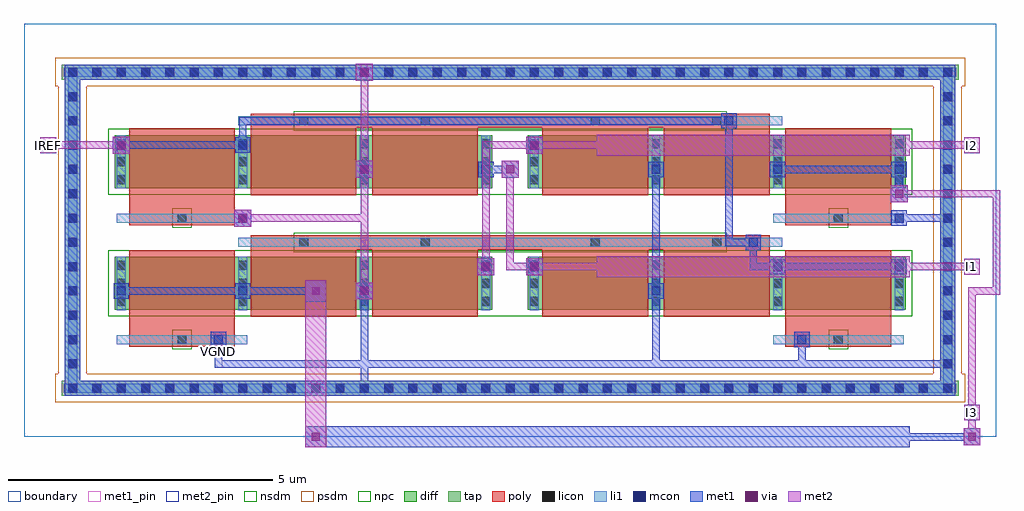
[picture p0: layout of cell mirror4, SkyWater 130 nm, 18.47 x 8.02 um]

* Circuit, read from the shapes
.subckt mirror4 I1 I2 I3 IREF VGND
XM1 I3 VGND I3 VGND sky130_fd_pr__nfet_01v8 w=1 l=2 m=2
XM2 IREF VGND IREF VGND sky130_fd_pr__nfet_01v8 w=1 l=2 m=2
XM3 VGND IREF I3 VGND sky130_fd_pr__nfet_01v8 w=1 l=2 m=2
XM4 VGND IREF IREF VGND sky130_fd_pr__nfet_01v8 w=1 l=2 m=2
XM5 I2 IREF VGND VGND sky130_fd_pr__nfet_01v8 w=1 l=2 m=2
XM6 I1 IREF VGND VGND sky130_fd_pr__nfet_01v8 w=1 l=2 m=2
.ends

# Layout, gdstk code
import gdstk
lib = gdstk.Library(unit=1e-6, precision=1e-09)
def R(c, l, rs):  # rectangles x0, y0, x1, y1
    for r in rs: c.add(gdstk.rectangle(r[:2], r[2:], *l))
def A(c, l, x, y, w, h, nx, ny, dx, dy):  # array of equal rectangles
    R(c, l, [(x+i*dx, y+j*dy, x+i*dx+w, y+j*dy+h) for i in range(nx) for j in range(ny)])
diff = (65, 20)
tap = (65, 44)
poly = (66, 20)
licon = (66, 44)
li1 = (67, 20)
mcon = (67, 44)
met1_pin = (68, 16)
met1 = (68, 20)
via = (68, 44)
met2_pin = (69, 16)
met2 = (69, 20)
nsdm = (93, 44)
psdm = (94, 20)
npc = (95, 20)
boundary = (235, 4)

mirror4 = lib.new_cell('mirror4')
R(mirror4, diff, [(1.715,2.405,8.865,3.405), (9.535,2.405,16.685,3.405), (1.715,4.705,8.865,5.705), (9.535,4.705,16.685,5.705)])
R(mirror4, tap, [(0.715,0.775,17.685,1.065), (0.775,0.775,1.065,7.045), (17.335,0.775,17.625,7.045), (0.715,6.755,17.685,7.045)])
R(mirror4, poly, [(1.99,1.705,3.99,1.975), (14.41,1.705,16.41,1.975), (1.99,1.84,3.99,3.535), (14.41,1.84,16.41,3.535), (4.29,2.275,6.29,3.68), (6.59,2.275,8.59,3.68), (9.81,2.275,11.81,3.68), (12.11,2.275,14.11,3.68), (4.29,3.545,14.11,3.815), (1.99,4.005,3.99,4.275), (14.41,4.005,16.41,4.275), (1.99,4.14,3.99,5.835), (14.41,4.14,16.41,5.835), (4.29,4.575,6.29,5.98), (6.59,4.575,8.59,5.98), (9.81,4.575,11.81,5.98), (12.11,4.575,14.11,5.98), (4.29,5.845,14.11,6.115)])
A(mirror4, licon, 0.835, 0.835, 0.17, 0.17, 37, 2, 0.46, 5.98)
A(mirror4, licon, 0.835, 1.295, 0.17, 0.17, 1, 12, 0, 0.46)
A(mirror4, licon, 17.395, 1.295, 0.17, 0.17, 1, 12, 0, 0.46)
A(mirror4, licon, 1.755, 2.48, 0.17, 0.17, 4, 3, 2.3, 0.34)
A(mirror4, licon, 9.575, 2.48, 0.17, 0.17, 4, 3, 2.3, 0.34)
A(mirror4, licon, 1.755, 4.78, 0.17, 0.17, 4, 3, 2.3, 0.34)
A(mirror4, licon, 9.575, 4.78, 0.17, 0.17, 4, 3, 2.3, 0.34)
R(mirror4, licon, [(2.905,1.755,3.075,1.925), (15.325,1.755,15.495,1.925), (5.205,3.595,5.375,3.765), (7.505,3.595,7.675,3.765), (10.725,3.595,10.895,3.765), (13.025,3.595,13.195,3.765), (2.905,4.055,3.075,4.225), (15.325,4.055,15.495,4.225), (5.205,5.895,5.375,6.065), (7.505,5.895,7.675,6.065), (10.725,5.895,10.895,6.065), (13.025,5.895,13.195,6.065)])
A(mirror4, li1, 1.755, 2.4, 0.17, 1.01, 4, 2, 2.3, 2.3)
A(mirror4, li1, 9.575, 2.4, 0.17, 1.01, 4, 2, 2.3, 2.3)
R(mirror4, li1, [(0.755,0.835,17.645,1.005), (0.835,0.835,1.005,6.985), (17.395,0.835,17.565,6.985), (1.755,1.755,4.225,1.925), (14.175,1.755,16.645,1.925), (4.055,3.595,14.345,3.765), (1.755,4.055,4.225,4.225), (14.175,4.055,16.645,4.225), (4.055,5.895,14.345,6.065), (0.755,6.815,17.645,6.985)])
A(mirror4, mcon, 0.835, 0.835, 0.17, 0.17, 37, 2, 0.46, 5.98)
A(mirror4, mcon, 0.835, 1.295, 0.17, 0.17, 1, 12, 0, 0.46)
A(mirror4, mcon, 17.395, 1.295, 0.17, 0.17, 1, 12, 0, 0.46)
A(mirror4, mcon, 1.755, 2.675, 0.17, 0.17, 3, 1, 2.3, 0)
A(mirror4, mcon, 11.875, 4.975, 0.17, 0.17, 3, 1, 2.3, 0)
R(mirror4, mcon, [(3.595,1.755,3.765,1.925), (14.635,1.755,14.805,1.925), (11.875,2.675,12.045,2.845), (8.655,3.135,8.825,3.305), (9.575,3.135,9.745,3.305), (14.175,3.135,14.345,3.305), (16.475,3.135,16.645,3.305), (13.715,3.595,13.885,3.765), (4.055,4.055,4.225,4.225), (16.475,4.055,16.645,4.225), (6.355,4.975,6.525,5.145), (8.655,4.975,8.825,5.145), (1.755,5.435,1.925,5.605), (4.055,5.435,4.225,5.605), (9.575,5.435,9.745,5.605), (13.255,5.895,13.425,6.065)])
R(mirror4, met1_pin, [(3.61,1.31,3.75,1.91)])
A(mirror4, met1, 1.695, 2.615, 0.29, 0.29, 3, 1, 2.3, 0)
A(mirror4, met1, 11.815, 4.915, 0.29, 0.29, 3, 1, 2.3, 0)
R(mirror4, met1, [(5.32,-0.2,5.72,0.2), (5.32,-0.2,16.76,0.2), (17.78,-0.16,18.1,0.16), (16.49,-0.07,18.01,0.07), (0.775,0.775,17.625,1.065), (0.775,0.775,1.065,7.045), (17.335,0.775,17.625,7.045), (6.37,0.85,6.51,0.99), (6.37,0.85,6.51,2.83), (3.61,1.31,3.75,1.91), (3.61,1.31,6.51,1.45), (6.37,1.31,12.03,1.45), (11.89,1.31,14.79,1.45), (11.89,1.31,12.03,2.83), (14.65,1.31,14.79,1.91), (14.65,1.31,17.55,1.45), (17.41,1.31,17.55,4.21), (3.535,1.695,3.825,1.985), (14.575,1.695,14.865,1.985), (5.32,2.56,5.72,2.96), (6.28,2.6,6.6,2.92), (11.815,2.615,12.105,2.905), (1.77,2.69,4.21,2.83), (4.07,2.69,5.59,2.83), (11.89,2.69,12.03,5.13), (8.58,3.06,8.9,3.38), (9.5,3.06,9.82,3.38), (8.595,3.075,8.885,3.365), (9.515,3.075,9.805,3.365), (14.115,3.075,14.405,3.365), (16.415,3.075,16.705,3.365), (13.73,3.15,14.33,3.29), (13.73,3.15,13.87,3.75), (14.19,3.15,16.63,3.29), (13.655,3.535,13.945,3.825), (13.27,3.61,13.87,3.75), (13.27,3.61,13.41,6.05), (3.98,3.98,4.3,4.3), (3.995,3.995,4.285,4.285), (16.415,3.995,16.705,4.285), (16.49,4.07,17.55,4.21), (16.4,4.44,16.72,4.76), (16.49,4.53,16.63,5.13), (6.28,4.9,6.6,5.22), (9.04,4.9,9.36,5.22), (6.295,4.915,6.585,5.205), (8.595,4.915,8.885,5.205), (8.67,4.99,9.27,5.13), (14.19,4.99,16.63,5.13), (1.68,5.36,2,5.68), (9.5,5.36,9.82,5.68), (1.695,5.375,1.985,5.665), (3.995,5.375,4.285,5.665), (9.515,5.375,9.805,5.665), (1.77,5.45,4.21,5.59), (4.07,5.45,4.21,6.05), (13.195,5.835,13.485,6.125), (4.07,5.91,13.41,6.05), (6.28,6.74,6.6,7.06), (0.775,6.755,17.625,7.045), (6.37,6.83,6.51,6.97)])
R(mirror4, via, [(5.445,-0.075,5.595,0.075), (17.865,-0.075,18.015,0.075), (5.445,2.685,5.595,2.835), (6.365,2.685,6.515,2.835), (8.665,3.145,8.815,3.295), (9.585,3.145,9.735,3.295), (4.065,4.065,4.215,4.215), (16.485,4.525,16.635,4.675), (6.365,4.985,6.515,5.135), (9.125,4.985,9.275,5.135), (1.765,5.445,1.915,5.595), (9.585,5.445,9.735,5.595), (6.365,6.825,6.515,6.975)])
R(mirror4, met2_pin, [(17.79,0.31,18.09,0.61), (17.79,3.07,18.09,3.37), (0.31,5.37,0.61,5.67), (17.79,5.37,18.09,5.67)])
R(mirror4, met2, [(5.32,-0.2,5.72,0.2), (5.32,-0.2,5.72,2.96), (17.78,-0.16,18.1,0.16), (17.87,-0.07,18.01,0.53), (17.79,0.31,18.09,0.61), (17.87,0.39,18.01,0.53), (17.87,0.39,18.01,2.83), (5.32,2.56,5.72,2.96), (6.28,2.6,6.6,2.92), (6.37,2.69,6.51,5.13), (17.87,2.69,18.47,2.83), (18.33,2.69,18.47,4.67), (10.84,3.02,16.76,3.42), (8.58,3.06,8.9,3.38), (9.5,3.06,9.82,3.38), (17.79,3.07,18.09,3.37), (8.67,3.15,8.81,5.59), (9.13,3.15,9.73,3.29), (9.13,3.15,9.27,5.13), (9.59,3.15,11.11,3.29), (16.49,3.15,18.01,3.29), (17.87,3.15,18.01,3.29), (3.98,3.98,4.3,4.3), (4.07,4.07,6.51,4.21), (16.4,4.44,16.72,4.76), (16.49,4.53,18.47,4.67), (6.28,4.9,6.6,5.22), (9.04,4.9,9.36,5.22), (6.37,4.99,6.51,6.97), (10.84,5.32,16.76,5.72), (1.68,5.36,2,5.68), (9.5,5.36,9.82,5.68), (0.31,5.37,0.61,5.67), (17.79,5.37,18.09,5.67), (0.39,5.45,0.53,5.59), (0.39,5.45,1.91,5.59), (8.67,5.45,9.73,5.59), (9.59,5.45,11.11,5.59), (16.49,5.45,18.01,5.59), (17.87,5.45,18.01,5.59), (6.28,6.74,6.6,7.06)])
R(mirror4, nsdm, [(1.59,2.28,16.81,3.53), (1.59,4.58,16.81,5.83)])
R(mirror4, psdm, [(0.59,0.65,17.81,1.19), (0.65,1.19,1.19,6.63), (17.21,1.19,17.75,6.63), (0.59,6.63,17.81,7.17)])
R(mirror4, npc, [(2.805,1.655,3.175,2.025), (15.225,1.655,15.595,2.025), (5.105,3.495,13.295,3.865), (2.805,3.955,3.175,4.325), (15.225,3.955,15.595,4.325), (5.105,5.795,13.295,6.165)])
R(mirror4, boundary, [(0,0,18.4,7.82)])
mirror4.add(gdstk.Label('VGND', (3.68,1.61), layer=68, texttype=5))
mirror4.add(gdstk.Label('IREF', (0.46,5.52), layer=69, texttype=5))
mirror4.add(gdstk.Label('I1', (17.94,3.22), layer=69, texttype=5))
mirror4.add(gdstk.Label('I2', (17.94,5.52), layer=69, texttype=5))
mirror4.add(gdstk.Label('I3', (17.94,0.46), layer=69, texttype=5))
mirror4.add(gdstk.Label('VGND', (3.68,1.61), layer=68, texttype=16))
mirror4.add(gdstk.Label('IREF', (0.46,5.52), layer=69, texttype=16))
mirror4.add(gdstk.Label('I1', (17.94,3.22), layer=69, texttype=16))
mirror4.add(gdstk.Label('I2', (17.94,5.52), layer=69, texttype=16))
mirror4.add(gdstk.Label('I3', (17.94,0.46), layer=69, texttype=16))

lib.write_gds('mirror4.gds')
